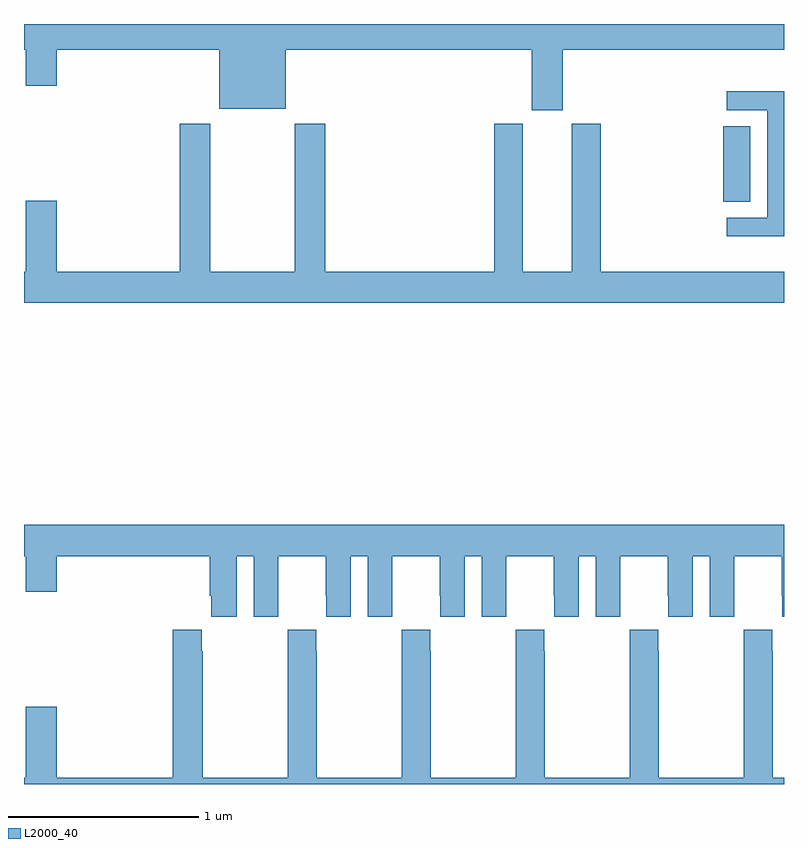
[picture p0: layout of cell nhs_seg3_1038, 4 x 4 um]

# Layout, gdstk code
import gdstk
lib = gdstk.Library(unit=1e-6, precision=1e-09)
def R(c, l, rs):  # rectangles x0, y0, x1, y1
    for r in rs: c.add(gdstk.rectangle(r[:2], r[2:], *l))
def P(c, l, *ps):  # polygons
    for p in ps: c.add(gdstk.Polygon(p, *l))
L2000_40 = (2000, 40)

nhs_seg3_1038 = lib.new_cell('nhs_seg3_1038')
R(nhs_seg3_1038, L2000_40, [(168.68,685.465,168.823,685.862)])
P(nhs_seg3_1038, L2000_40, [(167.836,686.264),(169,686.264),(169,686.4),(165,686.4),(165,686.264),(165.008,686.264),(165.008,686.076),(165.172,686.076),(165.172,686.264),(166.028,686.264),(166.028,685.955),(166.378,685.955),(166.378,686.264),(167.672,686.264),(167.672,685.947),(167.836,685.947)],
  [(169,686.046),(168.699,686.046),(168.699,685.947),(168.912,685.947),(168.912,685.38),(168.699,685.38),(168.699,685.284),(169,685.284)],
  [(169,685.096),(168.035,685.096),(168.035,685.875),(167.882,685.875),(167.882,685.096),(167.626,685.096),(167.626,685.875),(167.474,685.875),(167.474,685.096),(166.586,685.096),(166.586,685.876),(166.426,685.876),(166.426,685.096),(165.981,685.096),(165.981,685.876),(165.821,685.876),(165.821,685.096),(165.172,685.096),(165.172,685.471),(165.008,685.471),(165.008,685.096),(165,685.096),(165,684.932),(169,684.932)],
  [(165,683.6),(165.008,683.6),(165.008,683.412),(165.172,683.412),(165.172,683.6),(165.977,683.6),(165.977,683.392),(165.986,683.392),(165.986,683.28),(166.12,683.28),(166.12,683.6),(166.208,683.6),(166.208,683.28),(166.338,683.28),(166.338,683.392),(166.339,683.392),(166.339,683.6),(166.589,683.6),(166.589,683.392),(166.59,683.392),(166.59,683.28),(166.72,683.28),(166.72,683.6),(166.808,683.6),(166.808,683.28),(166.938,683.28),(166.938,683.392),(166.939,683.392),(166.939,683.6),(167.189,683.6),(167.189,683.392),(167.19,683.392),(167.19,683.28),(167.32,683.28),(167.32,683.6),(167.408,683.6),(167.408,683.28),(167.538,683.28),(167.538,683.392),(167.539,683.392),(167.539,683.6),(167.789,683.6),(167.789,683.392),(167.79,683.392),(167.79,683.28),(167.92,683.28),(167.92,683.6),(168.008,683.6),(168.008,683.28),(168.138,683.28),(168.138,683.392),(168.139,683.392),(168.139,683.6),(168.389,683.6),(168.389,683.392),(168.39,683.392),(168.39,683.28),(168.52,683.28),(168.52,683.6),(168.608,683.6),(168.608,683.28),(168.738,683.28),(168.738,683.392),(168.739,683.392),(168.739,683.6),(168.989,683.6),(168.989,683.392),(168.99,683.392),(168.99,683.28),(169,683.28),(169,683.764),(165,683.764)],
  [(169,682.432),(168.942,682.432),(168.942,683.099),(168.939,683.099),(168.939,683.212),(168.789,683.212),(168.789,683.099),(168.787,683.099),(168.787,682.432),(168.342,682.432),(168.342,683.099),(168.339,683.099),(168.339,683.212),(168.189,683.212),(168.189,683.099),(168.187,683.099),(168.187,682.432),(167.742,682.432),(167.742,683.099),(167.739,683.099),(167.739,683.212),(167.589,683.212),(167.589,683.099),(167.587,683.099),(167.587,682.432),(167.142,682.432),(167.142,683.099),(167.139,683.099),(167.139,683.212),(166.989,683.212),(166.989,683.099),(166.987,683.099),(166.987,682.432),(166.542,682.432),(166.542,683.099),(166.539,683.099),(166.539,683.212),(166.389,683.212),(166.389,683.099),(166.387,683.099),(166.387,682.432),(165.942,682.432),(165.942,683.099),(165.935,683.099),(165.935,683.212),(165.782,683.212),(165.782,682.432),(165.172,682.432),(165.172,682.807),(165.008,682.807),(165.008,682.432),(165,682.432),(165,682.4),(169,682.4)])

lib.write_gds('nhs_seg3_1038.gds')
